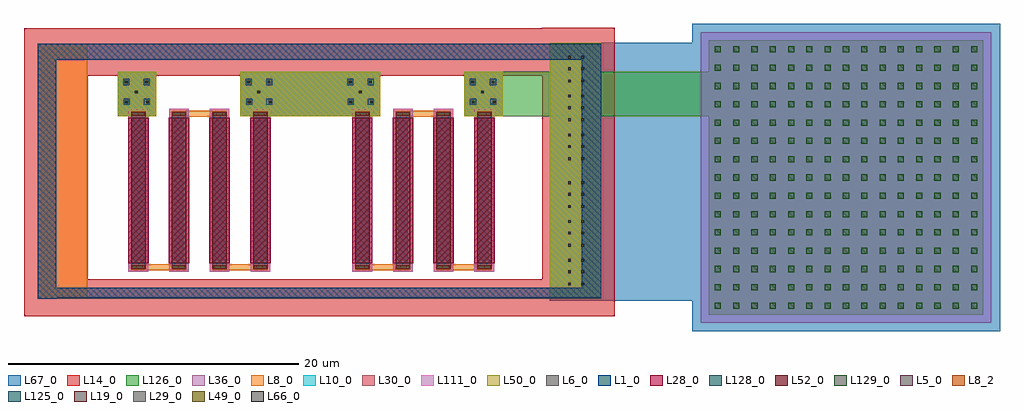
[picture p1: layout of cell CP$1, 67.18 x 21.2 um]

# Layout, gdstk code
from math import pi, radians
import gdstk
lib = gdstk.Library(unit=1e-6, precision=1e-09)
def R(c, l, rs):  # rectangles x0, y0, x1, y1
    for r in rs: c.add(gdstk.rectangle(r[:2], r[2:], *l))
def A(c, l, x, y, w, h, nx, ny, dx, dy):  # array of equal rectangles
    R(c, l, [(x+i*dx, y+j*dy, x+i*dx+w, y+j*dy+h) for i in range(nx) for j in range(ny)])
L1_0 = (1, 0)
L5_0 = (5, 0)
L6_0 = (6, 0)
L8_0 = (8, 0)
L8_2 = (8, 2)
L10_0 = (10, 0)
L14_0 = (14, 0)
L19_0 = (19, 0)
L28_0 = (28, 0)
L29_0 = (29, 0)
L30_0 = (30, 0)
L36_0 = (36, 0)
L49_0 = (49, 0)
L50_0 = (50, 0)
L52_0 = (52, 0)
L66_0 = (66, 0)
L67_0 = (67, 0)
L111_0 = (111, 0)
L125_0 = (125, 0)
L126_0 = (126, 0)
L128_0 = (128, 0)
L129_0 = (129, 0)

cmim = lib.new_cell('cmim')
R(cmim, L36_0, [(0,0,20,20)])
R(cmim, L67_0, [(-0.6,-0.6,20.6,20.6)])
R(cmim, L126_0, [(0.55,0.55,19.45,19.45)])
A(cmim, L129_0, 0.97, 0.97, 0.42, 0.42, 15, 15, 1.26, 1.26)

rppd = lib.new_cell('rppd')
R(rppd, L5_0, [(0,-0.43,1,-0.2), (0,-0.2,1,0), (0,10,1,10.2), (0,10.2,1,10.43)])
R(rppd, L6_0, [(0.07,-0.36,0.93,-0.2), (0.07,10.2,0.93,10.36)])
R(rppd, L8_0, [(0.02,-0.43,0.98,-0.13), (0.02,10.13,0.98,10.43)])
R(rppd, L8_2, [(0.02,-0.43,0.98,-0.13), (0.02,10.13,0.98,10.43)])
R(rppd, L14_0, [(-0.18,-0.61,1.18,0), (-0.18,0,1.18,10), (-0.18,10,1.18,10.61)])
R(rppd, L28_0, [(-0.2,0,1.2,10)])
R(rppd, L52_0, [(0,0,1,10)])
R(rppd, L111_0, [(-0.18,-0.61,1.18,0), (-0.2,0,1.2,10), (-0.18,10,1.18,10.61)])
R(rppd, L128_0, [(0,0,1,10)])
rppd.add(gdstk.Label('rppd r=2654.493', (0.5,5), layer=63, texttype=0))
rppd.add(gdstk.Label('rppd', (0.5,5), layer=52, texttype=0))

res_1 = lib.new_cell('RES$1')
R(res_1, L8_0, [(3.665,4.795,6.73,7.42), (16.915,5.565,17.315,9.323), (6.355,8.382,6.755,12.14), (16.915,11.17,17.315,14.928), (3.663,13.223,6.728,15.848)])
R(res_1, L10_0, [(3.665,4.795,6.73,7.42), (3.663,13.223,6.728,15.848)])
R(res_1, L19_0, [(5.647,5.292,5.837,5.482), (4.272,5.352,4.462,5.542), (4.957,6.074,5.147,6.264), (5.647,6.727,5.837,6.917), (4.272,6.757,4.462,6.947), (5.645,13.72,5.835,13.91), (4.27,13.78,4.46,13.97), (4.955,14.502,5.145,14.692), (5.645,15.155,5.835,15.345), (4.27,15.185,4.46,15.375)])
R(res_1, L29_0, [(5.647,5.292,5.837,5.482), (4.272,5.352,4.462,5.542), (4.957,6.072,5.147,6.262), (5.647,6.727,5.837,6.917), (4.272,6.757,4.462,6.947), (5.645,13.72,5.835,13.91), (4.27,13.78,4.46,13.97), (4.955,14.5,5.145,14.69), (5.645,15.155,5.835,15.345), (4.27,15.185,4.46,15.375)])
R(res_1, L30_0, [(3.665,4.795,6.73,7.42), (3.663,13.223,6.728,15.848)])
R(res_1, L49_0, [(5.647,5.292,5.837,5.482), (4.272,5.352,4.462,5.542), (4.957,6.072,5.147,6.262), (5.647,6.727,5.837,6.917), (4.272,6.757,4.462,6.947), (5.645,13.72,5.835,13.91), (4.27,13.78,4.46,13.97), (4.955,14.5,5.145,14.69), (5.645,15.155,5.835,15.345), (4.27,15.185,4.46,15.375)])
R(res_1, L50_0, [(3.665,4.795,6.73,7.42), (3.663,13.223,6.728,15.848)])
R(res_1, L66_0, [(5.647,5.292,5.837,5.482), (4.272,5.352,4.462,5.542), (4.957,6.072,5.147,6.262), (5.647,6.727,5.837,6.917), (4.272,6.757,4.462,6.947), (5.645,13.72,5.835,13.91), (4.27,13.78,4.46,13.97), (4.955,14.5,5.145,14.69), (5.645,15.155,5.835,15.345), (4.27,15.185,4.46,15.375)])
R(res_1, L67_0, [(3.665,4.795,6.73,7.42), (3.663,13.223,6.728,15.848)])
R(res_1, L125_0, [(5.53,5.225,5.95,5.645), (4.155,5.24,4.575,5.66), (5.53,6.615,5.95,7.035), (4.155,6.645,4.575,7.065), (5.53,13.65,5.95,14.07), (4.155,13.665,4.575,14.085), (5.53,15.04,5.95,15.46), (4.155,15.07,4.575,15.49)])
R(res_1, L126_0, [(3.663,4.798,6.728,7.423), (3.663,13.223,6.728,15.848)])
res_1.add(gdstk.Reference(rppd, (6.835,14.948), rotation=3*pi/2))
res_1.add(gdstk.Reference(rppd, (6.835,12.15), rotation=3*pi/2))
res_1.add(gdstk.Reference(rppd, (6.835,9.36), rotation=3*pi/2))
res_1.add(gdstk.Reference(rppd, (6.835,6.545), rotation=3*pi/2))

cp_1 = lib.new_cell('CP$1')
R(cp_1, L1_0, [(14.53,35.04,15.815,52.595), (14.53,35.115,53.315,35.795), (51.99,35.115,53.315,52.595), (14.53,51.5,53.315,52.595)])
R(cp_1, L6_0, [(14.53,35.04,15.815,52.595), (14.53,35.04,53.315,35.795), (51.99,35.04,53.315,52.595), (14.53,51.49,53.315,52.595)])
R(cp_1, L8_0, [(14.53,35.04,17.95,52.595), (49.76,35.04,53.315,52.595), (28.483,47.602,38.095,50.665)])
R(cp_1, L10_0, [(49.76,35.04,53.315,44.025), (49.76,43.665,53.315,52.65), (28.483,47.602,38.095,50.665)])
R(cp_1, L14_0, [(13.585,33.825,54.26,36.4), (49.265,33.825,54.26,53.695), (13.585,34.395,17.975,53.655), (13.585,50.4,54.26,53.655)])
A(cp_1, L19_0, 51.045, 35.965, 0.19, 0.19, 1, 3, 0, 2.67)
A(cp_1, L19_0, 51.957, 35.965, 0.19, 0.19, 1, 3, 0, 2.67)
A(cp_1, L19_0, 51.045, 44.59, 0.19, 0.19, 1, 3, 0, 2.67)
A(cp_1, L19_0, 51.957, 44.59, 0.19, 0.19, 1, 3, 0, 2.67)
R(cp_1, L19_0, [(51.047,36.805,51.237,36.995), (51.959,36.805,52.149,36.995), (51.047,37.6,51.237,37.79), (51.959,37.6,52.149,37.79), (51.047,39.475,51.237,39.665), (51.959,39.475,52.149,39.665), (51.047,40.27,51.237,40.46), (51.959,40.27,52.149,40.46), (51.047,42.145,51.237,42.335), (51.959,42.145,52.149,42.335), (51.047,42.94,51.237,43.13), (51.959,42.94,52.149,43.13), (51.047,45.43,51.237,45.62), (51.959,45.43,52.149,45.62), (51.047,46.225,51.237,46.415), (51.959,46.225,52.149,46.415), (51.047,48.1,51.237,48.29), (51.959,48.1,52.149,48.29), (51.047,48.895,51.237,49.085), (51.959,48.895,52.149,49.085), (51.047,50.77,51.237,50.96), (51.959,50.77,52.149,50.96), (51.047,51.565,51.237,51.755), (51.959,51.565,52.149,51.755)])
A(cp_1, L29_0, 51.045, 35.965, 0.19, 0.19, 1, 3, 0, 2.67)
A(cp_1, L29_0, 51.957, 35.965, 0.19, 0.19, 1, 3, 0, 2.67)
A(cp_1, L29_0, 51.045, 44.59, 0.19, 0.19, 1, 3, 0, 2.67)
A(cp_1, L29_0, 51.957, 44.59, 0.19, 0.19, 1, 3, 0, 2.67)
R(cp_1, L29_0, [(51.047,36.805,51.237,36.995), (51.959,36.805,52.149,36.995), (51.047,37.6,51.237,37.79), (51.959,37.6,52.149,37.79), (51.047,39.475,51.237,39.665), (51.959,39.475,52.149,39.665), (51.047,40.27,51.237,40.46), (51.959,40.27,52.149,40.46), (51.047,42.145,51.237,42.335), (51.959,42.145,52.149,42.335), (51.047,42.94,51.237,43.13), (51.959,42.94,52.149,43.13), (51.047,45.43,51.237,45.62), (51.959,45.43,52.149,45.62), (51.047,46.225,51.237,46.415), (51.959,46.225,52.149,46.415), (51.047,48.1,51.237,48.29), (51.959,48.1,52.149,48.29), (51.047,48.895,51.237,49.085), (51.959,48.895,52.149,49.085), (51.047,50.77,51.237,50.96), (51.959,50.77,52.149,50.96), (51.047,51.565,51.237,51.755), (51.959,51.565,52.149,51.755)])
R(cp_1, L30_0, [(49.76,35.04,53.315,44.025), (49.76,43.665,53.315,52.65), (28.483,47.602,38.095,50.665)])
A(cp_1, L49_0, 51.045, 35.965, 0.19, 0.19, 1, 3, 0, 2.67)
A(cp_1, L49_0, 51.957, 35.965, 0.19, 0.19, 1, 3, 0, 2.67)
A(cp_1, L49_0, 51.045, 44.59, 0.19, 0.19, 1, 3, 0, 2.67)
A(cp_1, L49_0, 51.957, 44.59, 0.19, 0.19, 1, 3, 0, 2.67)
R(cp_1, L49_0, [(51.047,36.805,51.237,36.995), (51.959,36.805,52.149,36.995), (51.047,37.6,51.237,37.79), (51.959,37.6,52.149,37.79), (51.047,39.475,51.237,39.665), (51.959,39.475,52.149,39.665), (51.047,40.27,51.237,40.46), (51.959,40.27,52.149,40.46), (51.047,42.145,51.237,42.335), (51.959,42.145,52.149,42.335), (51.047,42.94,51.237,43.13), (51.959,42.94,52.149,43.13), (51.047,45.43,51.237,45.62), (51.959,45.43,52.149,45.62), (51.047,46.225,51.237,46.415), (51.959,46.225,52.149,46.415), (51.047,48.1,51.237,48.29), (51.959,48.1,52.149,48.29), (51.047,48.895,51.237,49.085), (51.959,48.895,52.149,49.085), (51.047,50.77,51.237,50.96), (51.959,50.77,52.149,50.96), (51.047,51.565,51.237,51.755), (51.959,51.565,52.149,51.755)])
R(cp_1, L50_0, [(49.76,35.04,53.315,52.65), (28.483,47.602,38.095,50.665)])
A(cp_1, L66_0, 51.045, 35.965, 0.19, 0.19, 1, 3, 0, 2.67)
A(cp_1, L66_0, 51.957, 35.965, 0.19, 0.19, 1, 3, 0, 2.67)
A(cp_1, L66_0, 51.045, 44.59, 0.19, 0.19, 1, 3, 0, 2.67)
A(cp_1, L66_0, 51.957, 44.59, 0.19, 0.19, 1, 3, 0, 2.67)
R(cp_1, L66_0, [(51.047,36.805,51.237,36.995), (51.959,36.805,52.149,36.995), (51.047,37.6,51.237,37.79), (51.959,37.6,52.149,37.79), (51.047,39.475,51.237,39.665), (51.959,39.475,52.149,39.665), (51.047,40.27,51.237,40.46), (51.959,40.27,52.149,40.46), (51.047,42.145,51.237,42.335), (51.959,42.145,52.149,42.335), (51.047,42.94,51.237,43.13), (51.959,42.94,52.149,43.13), (51.047,45.43,51.237,45.62), (51.959,45.43,52.149,45.62), (51.047,46.225,51.237,46.415), (51.959,46.225,52.149,46.415), (51.047,48.1,51.237,48.29), (51.959,48.1,52.149,48.29), (51.047,48.895,51.237,49.085), (51.959,48.895,52.149,49.085), (51.047,50.77,51.237,50.96), (51.959,50.77,52.149,50.96), (51.047,51.565,51.237,51.755), (51.959,51.565,52.149,51.755)])
R(cp_1, L67_0, [(49.76,34.915,59.567,52.65), (28.483,47.602,38.095,50.665)])
R(cp_1, L126_0, [(28.48,47.602,38.095,50.667), (43.895,47.602,66.07,50.667)])
cp_1.add(gdstk.Reference(cmim, (60.167,33.388)))
cp_1.add(gdstk.Reference(res_1, (35.903,54.33), rotation=3*pi/2, x_reflection=True))
cp_1.add(gdstk.Reference(res_1, (51.318,54.33), rotation=3*pi/2, x_reflection=True))

lib.write_gds('CP_1.gds')
